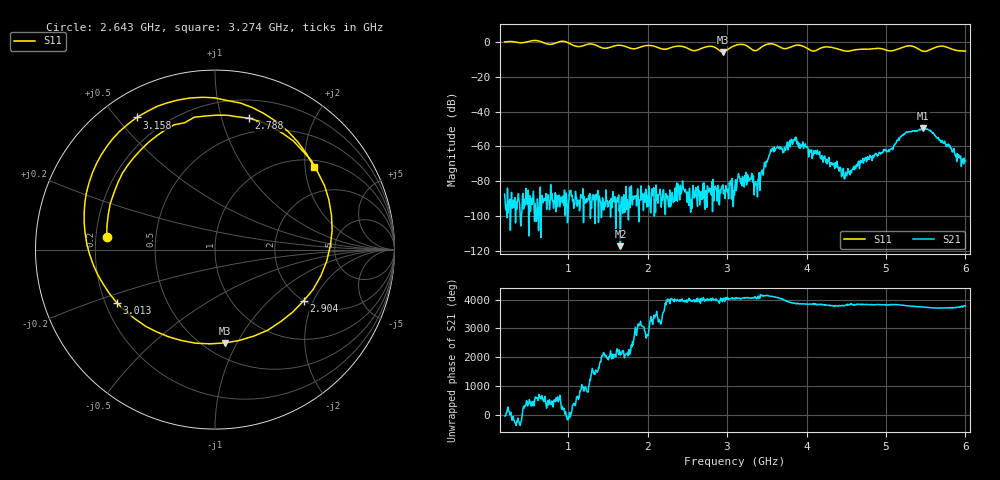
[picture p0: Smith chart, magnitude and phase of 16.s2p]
! NanoVNA-App by OneOfEleven et al v1.1.209 (+OD15)
! Date: 2024-07-30 15:18:16
! Start: 200MHz Stop: 6GHz Points: 801
! S-Parameter data: F S11 S21 S12 S22
# Hz S RI R 50
!  Frequency  S11_Real  S11_Imag  S21_Real  S21_Imag  S12_Real  S12_Imag  S22_Real  S22_Imag
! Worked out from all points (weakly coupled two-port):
!   801 points, 200 MHz to 6 GHz, reference 50 ohm
!   highest |S21| = -49.67 dB at 5.471 GHz (marker M1); lowest = -117.5 dB at 1.657 GHz (marker M2)
!   lowest |S11| = -5.6 dB at 2.948 GHz (marker M3), VSWR 3.19, Z = 31.2 - j44.6 ohm
!   |S11| at or under -10 dB: nowhere
!   S12 and S22 are empty: the file has one direction only
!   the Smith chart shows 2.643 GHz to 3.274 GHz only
!   S11 on the Smith chart (normalised r, x): 2.643 GHz: 0.25, +0.05; 2.788 GHz: 0.36, +1.23; 2.904 GHz: 2.00, -1.69; 3.013 GHz: 0.25, -0.24; 3.158 GHz: 0.10, +0.57; 3.274 GHz: 1.18, +2.23
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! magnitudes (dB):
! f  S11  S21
! 200 MHz  0.0  -87.5
! 1.171 GHz  -2.3  -89.2
! 1.657 GHz  -1.9  -117.5
! 2.136 GHz  -3.2  -88.4
! 2.643 GHz  -4.3  -87.1
! 2.788 GHz  -2.4  -84.2
! 2.904 GHz  -4.9  -93.8
! 2.948 GHz  -5.6  -82.2
! 3.013 GHz  -4.1  -84.6
! 3.1 GHz  -2.0  -83.0
! 3.158 GHz  -1.4  -77.8
! 3.274 GHz  -2.9  -79.9
! 3.39 GHz  -4.3  -79.1
! 3.564 GHz  -1.0  -61.5
! 3.709 GHz  -3.7  -63.7
! 3.84 GHz  -2.1  -57.0
! 4.072 GHz  -5.1  -67.0
! 4.47 GHz  -5.0  -77.5
! 5.036 GHz  -5.0  -61.8
! 5.231 GHz  -2.7  -53.2
! 5.471 GHz  -5.3  -49.7
! 6 GHz  -5.2  -68.5
